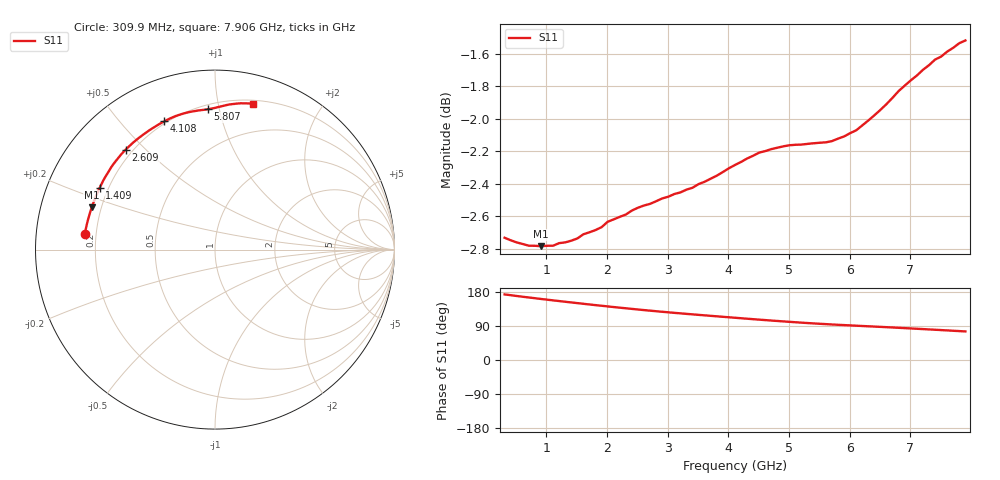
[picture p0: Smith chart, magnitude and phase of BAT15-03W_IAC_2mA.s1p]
! Infineon Technologies  Discrete & RF Semiconductors
! BAT15-03W-E6327
! IAC = 2 mA
! One-Port S-Parameters
# Hz  S  MA  R  50
!f  S11
!Hz  Mag  Ang
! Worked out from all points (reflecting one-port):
!   77 points, 309.9 MHz to 7.906 GHz, reference 50 ohm
!   lowest |S11| = -2.8 dB at 909.5 MHz (marker M1), VSWR 6.30, Z = 8.16 + j8.11 ohm
!   phase of S11 starts at 173 deg and turns -98 deg over the sweep
!   S11 on the Smith chart (normalised r, x): 309.9 MHz: 0.16, +0.06; 1.409 GHz: 0.17, +0.24; 2.609 GHz: 0.17, +0.44; 4.108 GHz: 0.19, +0.66; 5.807 GHz: 0.23, +0.92; 7.906 GHz: 0.23, +1.27
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3.0985e8  0.7302 173.1
6.097e8  0.727 166.9
9.0955e8  0.7259 161.1
1.2094e9  0.7275 155.5
1.30935e9  0.7278 153.7
1.4093e9  0.7287 151.9
1.6092e9  0.732 148.3
1.70915e9  0.7331 146.5
2.009e9  0.7385 141.4
2.2089e9  0.7411 138.1
2.4088e9  0.7444 134.9
2.6087e9  0.7471 131.7
2.90855e9  0.7508 127.2
3.10845e9  0.7531 124.4
3.2084e9  0.754 123.1
3.50825e9  0.7585 119.1
4.10795e9  0.7688 111.5
4.50775e9  0.7755 106.5
4.8076e9  0.7782 103.0
5.10745e9  0.7799 99.6
5.4073e9  0.7807 96.5
5.8071e9  0.7832 92.9
6.007e9  0.7863 91.3
6.50675e9  0.7994 87.4
6.8066e9  0.8101 84.9
7.0065e9  0.8162 83.3
7.4063e9  0.8283 79.9
7.90605e9  0.8396 75.4
